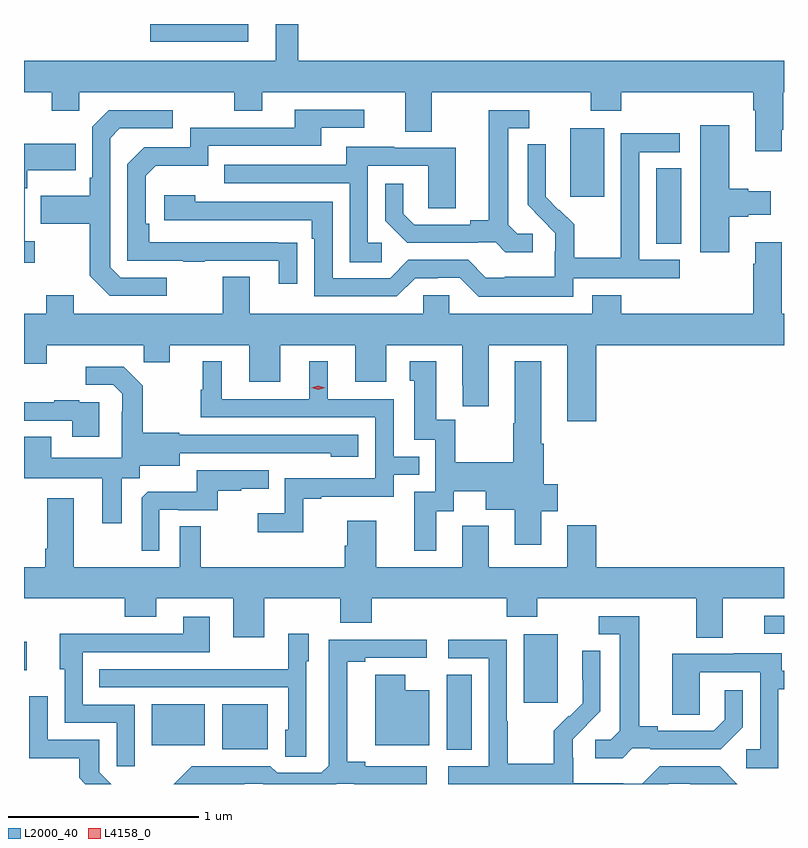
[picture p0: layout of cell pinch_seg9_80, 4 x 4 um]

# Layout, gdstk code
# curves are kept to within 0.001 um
import gdstk
lib = gdstk.Library(unit=1e-6, precision=1e-09)
def R(c, l, rs):  # rectangles x0, y0, x1, y1
    for r in rs: c.add(gdstk.rectangle(r[:2], r[2:], *l))
def P(c, l, *ps):  # polygons
    for p in ps: c.add(gdstk.Polygon(p, *l))
L2000_40 = (2000, 40)
L4158_0 = (4158, 0)

pinch_seg9_80 = lib.new_cell('pinch_seg9_80')
R(pinch_seg9_80, L2000_40, [(1117.076,1202.281,1117.207,1202.678), (1115.894,1202.285,1116.133,1202.521), (1115.522,1202.306,1115.8,1202.521), (1117.481,1202.529,1117.66,1202.89), (1114.85,1202.702,1114.864,1202.851), (1118.745,1202.892,1118.85,1202.988), (1118.177,1204.945,1118.308,1205.342), (1117.724,1205.193,1117.903,1205.554), (1115.514,1206.008,1116.031,1206.102)])
P(pinch_seg9_80, L2000_40, [(1118.839,1205.545),(1118.847,1205.545),(1118.847,1205.744),(1118.85,1205.744),(1118.85,1205.908),(1116.293,1205.908),(1116.293,1206.102),(1116.176,1206.102),(1116.176,1205.908),(1114.85,1205.908),(1114.85,1205.744),(1114.996,1205.744),(1114.996,1205.645),(1115.142,1205.645),(1115.142,1205.744),(1115.956,1205.744),(1115.956,1205.645),(1116.103,1205.645),(1116.103,1205.744),(1116.857,1205.744),(1116.857,1205.536),(1116.997,1205.536),(1116.997,1205.744),(1117.834,1205.744),(1117.834,1205.645),(1117.994,1205.645),(1117.994,1205.744),(1118.687,1205.744),(1118.687,1205.648),(1118.699,1205.648),(1118.699,1205.433),(1118.839,1205.433)],
  [(1116.287,1204.952),(1115.51,1204.953),(1115.51,1205.05),(1115.49,1205.05),(1115.49,1205.304),(1115.543,1205.357),(1115.82,1205.357),(1115.82,1205.46),(1116.415,1205.46),(1116.415,1205.556),(1116.64,1205.556),(1116.64,1205.652),(1116.275,1205.652),(1116.275,1205.556),(1115.724,1205.556),(1115.724,1205.454),(1115.484,1205.454),(1115.394,1205.364),(1115.394,1204.857),(1115.689,1204.857),(1115.689,1204.852),(1115.801,1204.852),(1115.801,1204.857),(1116.191,1204.857),(1116.191,1204.734),(1116.287,1204.734)],
  [(1117.528,1204.998),(1117.446,1204.998),(1117.399,1205.045),(1117.399,1205.553),(1117.51,1205.553),(1117.51,1205.649),(1117.295,1205.649),(1117.295,1205.069),(1117.199,1205.069),(1117.199,1205.046),(1116.904,1205.046),(1116.847,1205.103),(1116.847,1205.26),(1116.75,1205.26),(1116.75,1205.066),(1116.866,1204.95),(1117.238,1204.95),(1117.238,1204.953),(1117.332,1204.953),(1117.384,1204.901),(1117.528,1204.901)],
  [(1115.602,1204.767),(1115.358,1204.767),(1115.304,1204.821),(1115.304,1205.502),(1115.355,1205.553),(1115.632,1205.553),(1115.632,1205.649),(1115.295,1205.649),(1115.208,1205.562),(1115.208,1205.293),(1115.196,1205.293),(1115.196,1205.197),(1114.939,1205.197),(1114.939,1205.05),(1115.196,1205.05),(1115.196,1204.777),(1115.301,1204.671),(1115.602,1204.671)],
  [(1118.563,1205.087),(1118.663,1205.087),(1118.663,1205.099),(1118.779,1205.099),(1118.779,1205.221),(1118.663,1205.221),(1118.663,1205.234),(1118.563,1205.234),(1118.563,1205.569),(1118.408,1205.569),(1118.408,1204.902),(1118.563,1204.902)],
  [(1117.74,1204.764),(1118.302,1204.764),(1118.302,1204.86),(1118.088,1204.86),(1118.088,1205.427),(1118.302,1205.427),(1118.302,1205.526),(1117.992,1205.526),(1117.992,1205.096),(1117.99,1205.096),(1117.99,1204.873),(1117.745,1204.873),(1117.745,1205.047),(1117.668,1205.124),(1117.665,1205.121),(1117.595,1205.192),(1117.596,1205.468),(1117.5,1205.468),(1117.5,1205.15),(1117.646,1205.002),(1117.646,1204.905),(1117.644,1204.905),(1117.644,1204.771),(1117.381,1204.771),(1117.381,1204.767),(1117.281,1204.767),(1117.188,1204.86),(1116.873,1204.86),(1116.777,1204.764),(1116.474,1204.764),(1116.474,1205.166),(1115.75,1205.166),(1115.75,1205.2),(1115.589,1205.2),(1115.589,1205.07),(1116.365,1205.07),(1116.365,1204.973),(1116.378,1204.973),(1116.378,1204.668),(1116.813,1204.668),(1116.909,1204.764),(1117.028,1204.764),(1117.028,1204.767),(1117.143,1204.767),(1117.243,1204.667),(1117.74,1204.667)],
  [(1114.906,1204.958),(1114.854,1204.958),(1114.854,1205.237),(1114.867,1205.237),(1114.867,1205.333),(1115.123,1205.333),(1115.123,1205.473),(1114.85,1205.473),(1114.85,1204.845),(1114.906,1204.845)],
  [(1116.733,1204.95),(1116.66,1204.95),(1116.66,1205.355),(1116.978,1205.355),(1116.978,1205.131),(1117.123,1205.131),(1117.123,1205.451),(1116.799,1205.451),(1116.799,1205.455),(1116.545,1205.455),(1116.545,1205.361),(1115.905,1205.361),(1115.905,1205.265),(1116.564,1205.265),(1116.564,1204.849),(1116.733,1204.849)],
  [(1117.862,1204.412),(1118.85,1204.412),(1118.85,1204.576),(1118.839,1204.576),(1118.839,1204.954),(1118.699,1204.954),(1118.699,1204.841),(1118.687,1204.841),(1118.687,1204.576),(1117.994,1204.576),(1117.994,1204.675),(1117.841,1204.675),(1117.841,1204.576),(1117.089,1204.576),(1117.089,1204.674),(1116.951,1204.674),(1116.951,1204.576),(1116.037,1204.576),(1116.037,1204.771),(1115.897,1204.771),(1115.897,1204.576),(1115.113,1204.576),(1115.113,1204.675),(1114.966,1204.675),(1114.966,1204.576),(1114.85,1204.576),(1114.85,1204.313),(1114.969,1204.313),(1114.969,1204.412),(1115.479,1204.412),(1115.479,1204.322),(1115.617,1204.322),(1115.617,1204.412),(1116.035,1204.412),(1116.035,1204.218),(1116.199,1204.218),(1116.199,1204.412),(1116.593,1204.412),(1116.593,1204.218),(1116.757,1204.218),(1116.757,1204.412),(1117.157,1204.412),(1117.157,1204.201),(1117.16,1204.201),(1117.16,1204.089),(1117.297,1204.089),(1117.297,1204.412),(1117.709,1204.412),(1117.709,1204.011),(1117.862,1204.011)],
  [(1116.321,1203.603),(1116.415,1203.603),(1116.415,1203.615),(1116.795,1203.615),(1116.795,1203.729),(1116.929,1203.729),(1116.929,1203.825),(1116.795,1203.825),(1116.795,1204.128),(1116.448,1204.128),(1116.448,1204.327),(1116.35,1204.327),(1116.35,1204.128),(1115.89,1204.128),(1115.89,1204.327),(1115.792,1204.327),(1115.792,1204.176),(1115.781,1204.176),(1115.781,1204.032),(1116.699,1204.032),(1116.699,1203.711),(1116.222,1203.711),(1116.222,1203.526),(1116.081,1203.526),(1116.081,1203.428),(1116.321,1203.428)],
  [(1117.021,1203.538),(1117.111,1203.538),(1117.111,1203.644),(1117.28,1203.644),(1117.28,1203.545),(1117.433,1203.545),(1117.433,1203.36),(1117.573,1203.36),(1117.573,1203.538),(1117.66,1203.538),(1117.66,1203.68),(1117.586,1203.68),(1117.586,1203.892),(1117.573,1203.892),(1117.573,1204.327),(1117.433,1204.327),(1117.433,1204.001),(1117.426,1204.001),(1117.426,1203.796),(1117.119,1203.796),(1117.119,1204.019),(1117.021,1204.019),(1117.021,1204.327),(1116.881,1204.327),(1116.881,1204.224),(1116.905,1204.224),(1116.905,1203.915),(1117.014,1203.915),(1117.014,1203.639),(1116.905,1203.639),(1116.905,1203.33),(1117.021,1203.33)],
  [(1115.365,1203.712),(1115.46,1203.712),(1115.46,1203.776),(1115.671,1203.776),(1115.671,1203.843),(1116.465,1203.842),(1116.465,1203.824),(1116.61,1203.824),(1116.61,1203.939),(1115.667,1203.939),(1115.667,1203.952),(1115.475,1203.952),(1115.475,1204.197),(1115.375,1204.297),(1115.175,1204.297),(1115.175,1204.203),(1115.319,1204.203),(1115.366,1204.156),(1115.366,1204.061),(1115.364,1204.061),(1115.364,1203.82),(1114.993,1203.82),(1114.993,1203.929),(1114.85,1203.929),(1114.85,1203.71),(1115.261,1203.71),(1115.261,1203.474),(1115.365,1203.474)],
  [(1115.245,1204.11),(1115.141,1204.11),(1115.141,1204.123),(1115.009,1204.123),(1115.009,1204.112),(1114.85,1204.112),(1114.85,1204.014),(1115.105,1204.014),(1115.105,1203.93),(1115.245,1203.93)],
  [(1115.562,1203.546),(1115.662,1203.546),(1115.662,1203.543),(1115.87,1203.543),(1115.87,1203.645),(1115.993,1203.645),(1115.993,1203.656),(1116.137,1203.656),(1116.137,1203.753),(1115.76,1203.753),(1115.76,1203.641),(1115.501,1203.641),(1115.469,1203.609),(1115.469,1203.329),(1115.562,1203.329)],
  [(1118.527,1203.08),(1118.85,1203.08),(1118.85,1203.244),(1117.862,1203.244),(1117.862,1203.463),(1117.709,1203.463),(1117.709,1203.244),(1117.297,1203.244),(1117.297,1203.46),(1117.157,1203.46),(1117.157,1203.244),(1116.703,1203.244),(1116.703,1203.487),(1116.551,1203.487),(1116.551,1203.357),(1116.539,1203.357),(1116.539,1203.244),(1115.779,1203.244),(1115.779,1203.458),(1115.67,1203.458),(1115.67,1203.244),(1115.113,1203.244),(1115.113,1203.607),(1114.973,1203.607),(1114.973,1203.34),(1114.961,1203.34),(1114.961,1203.244),(1114.85,1203.244),(1114.85,1203.08),(1115.381,1203.08),(1115.381,1202.981),(1115.545,1202.981),(1115.545,1203.08),(1115.951,1203.08),(1115.951,1202.874),(1116.115,1202.874),(1116.115,1203.08),(1116.515,1203.08),(1116.515,1202.952),(1116.679,1202.952),(1116.679,1203.08),(1117.391,1203.08),(1117.391,1202.981),(1117.551,1202.981),(1117.551,1203.08),(1118.387,1203.08),(1118.387,1202.872),(1118.527,1202.872)],
  [(1118.052,1202.289),(1118.146,1202.289),(1118.146,1202.286),(1118.518,1202.286),(1118.634,1202.402),(1118.634,1202.596),(1118.537,1202.596),(1118.537,1202.439),(1118.48,1202.382),(1118.185,1202.382),(1118.185,1202.405),(1118.089,1202.405),(1118.089,1202.985),(1117.875,1202.985),(1117.875,1202.889),(1117.985,1202.889),(1117.985,1202.381),(1117.938,1202.334),(1117.857,1202.334),(1117.857,1202.237),(1118,1202.237)],
  [(1115.433,1202.52),(1115.16,1202.52),(1115.16,1202.796),(1115.827,1202.796),(1115.827,1202.983),(1115.687,1202.983),(1115.687,1202.892),(1115.257,1202.892),(1115.257,1202.894),(1115.039,1202.894),(1115.039,1202.706),(1115.064,1202.706),(1115.064,1202.424),(1115.337,1202.424),(1115.337,1202.196),(1115.433,1202.196)],
  [(1116.336,1202.748),(1116.349,1202.748),(1116.349,1202.893),(1116.24,1202.893),(1116.24,1202.707),(1115.923,1202.707),(1115.923,1202.706),(1115.245,1202.706),(1115.245,1202.61),(1116.24,1202.61),(1116.24,1202.388),(1116.224,1202.388),(1116.224,1202.245),(1116.336,1202.245)],
  [(1118.241,1202.103),(1118.605,1202.102),(1118.511,1202.196),(1118.196,1202.196),(1118.103,1202.103),(1118.003,1202.103),(1118.003,1202.107),(1117.74,1202.107),(1117.74,1202.241),(1117.738,1202.241),(1117.738,1202.338),(1117.884,1202.486),(1117.884,1202.804),(1117.788,1202.804),(1117.788,1202.65),(1117.79,1202.65),(1117.79,1202.528),(1117.719,1202.457),(1117.716,1202.46),(1117.639,1202.383),(1117.639,1202.209),(1117.395,1202.209),(1117.395,1202.432),(1117.392,1202.432),(1117.392,1202.862),(1117.083,1202.862),(1117.083,1202.763),(1117.296,1202.763),(1117.296,1202.196),(1117.083,1202.196),(1117.083,1202.102)],
  [(1116.008,1202.103),(1116.97,1202.102),(1116.97,1202.196),(1116.646,1202.196),(1116.646,1202.219),(1116.55,1202.219),(1116.55,1202.746),(1116.646,1202.746),(1116.646,1202.766),(1116.97,1202.766),(1116.97,1202.862),(1116.453,1202.862),(1116.453,1202.199),(1116.414,1202.16),(1116.183,1202.16),(1116.147,1202.196),(1115.733,1202.196),(1115.639,1202.102)],
  [(1118.82,1202.601),(1118.85,1202.601),(1118.85,1202.697),(1118.839,1202.697),(1118.839,1202.791),(1118.585,1202.791),(1118.585,1202.787),(1118.261,1202.787),(1118.261,1202.467),(1118.406,1202.467),(1118.406,1202.691),(1118.724,1202.691),(1118.724,1202.286),(1118.652,1202.286),(1118.652,1202.185),(1118.82,1202.185)],
  [(1116.982,1202.596),(1116.856,1202.596),(1116.856,1202.677),(1116.698,1202.677),(1116.698,1202.306),(1116.982,1202.306)],
  [(1115.247,1202.163),(1115.247,1202.334),(1114.974,1202.334),(1114.974,1202.563),(1114.878,1202.563),(1114.878,1202.237),(1115.14,1202.237),(1115.14,1202.135),(1115.173,1202.102),(1115.308,1202.102)])
P(pinch_seg9_80, L4158_0, [(1116.399,1204.178),(1116.363,1204.188),(1116.363,1204.188),(1116.363,1204.188),(1116.399,1204.198),(1116.435,1204.188),(1116.435,1204.188),(1116.435,1204.188)])

lib.write_gds('pinch_seg9_80.gds')
